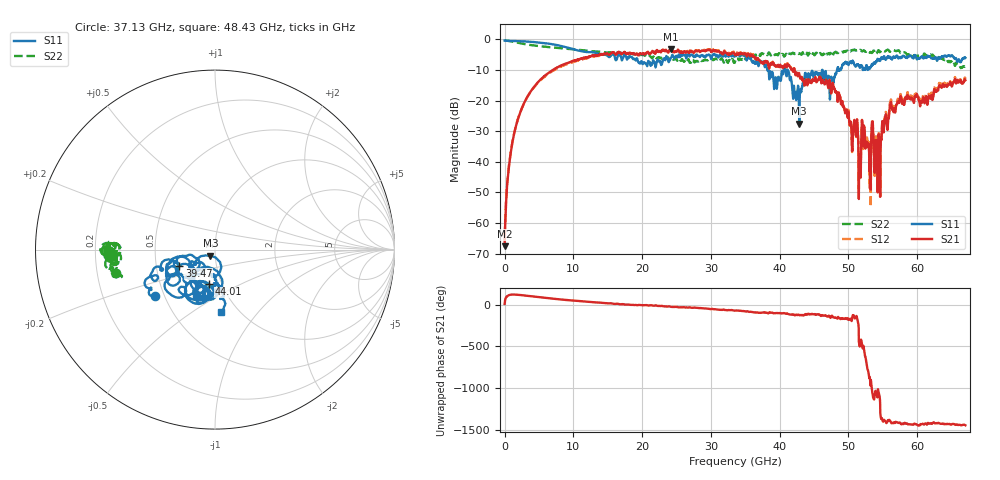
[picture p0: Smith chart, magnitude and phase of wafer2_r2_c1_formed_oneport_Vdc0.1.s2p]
!Keysight Technologies,N5227A,US51270248,A.10.65.08
!Date: Tuesday, June 11, 2024 07:54:18
!Correction: S11(Full 2 Port(1,4))
!S41(Full 2 Port(1,4))
!S14(Full 2 Port(1,4))
!S44(Full 2 Port(1,4))
!S2P File: Measurements: S11, S41, S14, S44:
# Hz S  dB  R 50
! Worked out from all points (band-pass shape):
!   3201 points, 10 MHz to 67 GHz, reference 50 ohm
!   highest |S21| = -3.24 dB at 24.19 GHz (marker M1); lowest = -67.5 dB at 10 MHz (marker M2)
!   |S21| within 3 dB of the highest: 11.24 GHz to 36.57 GHz (25.32 GHz wide, 106 % of centre); 36.74727 GHz to 36.85513 GHz (107.9 MHz wide, 0.293 % of centre)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
!   lowest |S11| = -27.5 dB at 42.84 GHz (marker M3), VSWR 1.09, Z = 47.4 - j3.24 ohm
!   |S11| at or under -10 dB: 38.37 GHz to 40.59 GHz (2.223 GHz wide, 5.63 % of centre); 41.18 GHz to 46.15 GHz (4.978 GHz wide, 11.4 % of centre); 46.23 GHz to 48.32 GHz (2.093 GHz wide, 4.43 % of centre)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
!   |S22| runs from -9.4 to -0.3 dB; largest |S21 - S12| = 0.053
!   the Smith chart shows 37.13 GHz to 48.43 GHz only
!   S11 on the Smith chart (normalised r, x): 37.13 GHz: 0.44, -0.28; 39.47 GHz: 0.66, -0.12; 44.01 GHz: 0.87, -0.35; 48.43 GHz: 0.84, -0.66
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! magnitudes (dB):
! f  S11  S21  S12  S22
! 10 MHz  -0.4  -67.5  -63.3  -0.3
! 993.9 MHz  -0.5  -35.7  -35.4  -0.6
! 2.773 GHz  -0.6  -21.1  -21.2  -1.5
! 5.976 GHz  -1.2  -11.6  -11.8  -2.4
! 11.19 GHz  -3.8  -6.2  -6.6  -3.5
! 22.35 GHz  -6.9  -3.8  -3.9  -5.9
! 24.19 GHz  -5.9  -3.2  -3.3  -6.3
! 33.51 GHz  -5.5  -5.0  -5.0  -7.2
! 37.13 GHz  -7.4  -7.0  -6.9  -5.0
! 39.47 GHz  -13.2  -8.7  -8.9  -4.9
! 40.96 GHz  -11.0  -8.9  -8.9  -4.7
! 42.84 GHz  -27.5  -11.3  -11.2  -4.6
! 44.01 GHz  -14.1  -14.9  -14.6  -4.6
! 44.68 GHz  -10.2  -13.7  -13.5  -4.5
! 48.43 GHz  -9.1  -20.4  -20.2  -4.4
! 51.09 GHz  -8.7  -31.2  -31.4  -3.5
! 51.55 GHz  -8.7  -38.8  -38.9  -3.7
! 52.2 GHz  -9.3  -29.2  -29.1  -3.6
! 52.95 GHz  -9.2  -34.3  -33.5  -4.0
! 54.48 GHz  -6.5  -32.5  -32.1  -4.0
! 55.84 GHz  -5.6  -25.6  -25.1  -3.5
! 67 GHz  -6.0  -13.3  -12.9  -8.8
